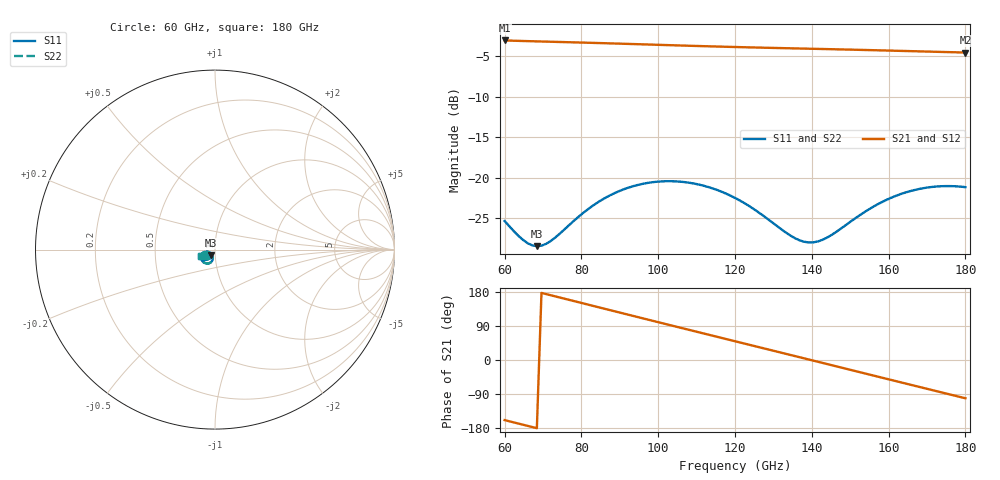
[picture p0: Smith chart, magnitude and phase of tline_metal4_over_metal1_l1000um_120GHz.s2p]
#  GHZ S DB R 50
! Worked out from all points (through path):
!   101 points, 60 GHz to 180 GHz, reference 50 ohm
!   highest |S21| = -3.05 dB at 60 GHz (marker M1); lowest = -4.5 dB at 180 GHz (marker M2)
!   group delay of S21, straight-line fit = 7 ps
!   lowest |S11| = -28.5 dB at 68.4 GHz (marker M3), VSWR 1.08, Z = 47.7 - j2.92 ohm
!   |S11| at or under -10 dB: start of sweep to end of sweep
!   |S22| runs from -28.5 to -20.4 dB; largest |S21 - S12| = 7.9e-14
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60  -25.36 -148.8  -3.05 -158.6  -3.05 -158.6  -25.40 -148.8
64.8  -27.70 -139.6  -3.11 -170.8  -3.11 -170.8  -27.76 -139.4
68.4  -28.47 -125.9  -3.16 -179.9  -3.16 -179.9  -28.52 -125.4
72  -27.83 -112.6  -3.21 170.9  -3.21 170.9  -27.85 -112.0
80.4  -24.38 -103.6  -3.31 149.6  -3.31 149.6  -24.35 -103.0
86.4  -22.45 -109.0  -3.39 134.3  -3.39 134.3  -22.41 -108.5
91.2  -21.41 -116.1  -3.46 122.1  -3.46 122.1  -21.36 -115.6
96  -20.76 -124.2  -3.53 109.9  -3.53 109.9  -20.71 -123.7
100.8  -20.46 -132.7  -3.60 97.8  -3.60 97.8  -20.41 -132.2
105.6  -20.49 -141.2  -3.67 85.7  -3.67 85.7  -20.44 -140.7
110.4  -20.84 -149.4  -3.73 73.6  -3.73 73.6  -20.78 -148.9
120  -22.50 -162.9  -3.86 49.5  -3.86 49.5  -22.44 -162.3
126  -24.24 -167.1  -3.93 34.5  -3.93 34.5  -24.17 -166.5
130.8  -25.93 -165.7  -3.98 22.4  -3.98 22.4  -25.84 -165.1
136.8  -27.74 -154.6  -4.04 7.4  -4.04 7.4  -27.63 -154.1
140.4  -27.99 -143.8  -4.08 -1.7  -4.08 -1.7  -27.88 -143.5
144  -27.40 -134.0  -4.12 -10.7  -4.12 -10.7  -27.30 -133.8
150  -25.47 -125.9  -4.18 -25.8  -4.18 -25.8  -25.39 -125.7
160.8  -22.46 -130.6  -4.31 -53.0  -4.31 -53.0  -22.41 -130.4
170.4  -21.20 -142.7  -4.43 -77.0  -4.43 -77.0  -21.17 -142.5
175.2  -21.04 -149.5  -4.48 -89.0  -4.48 -89.0  -21.02 -149.3
180  -21.17 -156.2  -4.54 -101.0  -4.54 -101.0  -21.17 -156.0
